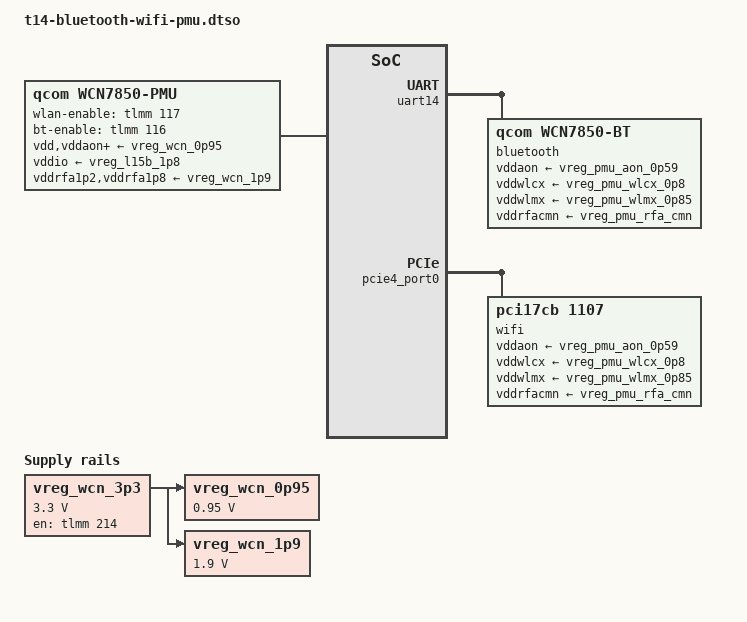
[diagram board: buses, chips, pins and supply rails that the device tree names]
// SPDX-License-Identifier: BSD-3-Clause
// FAILED physical trial: the T14s froze before keyboard or network worked.
// That image also changed .dtbauto selection to .dtb; DT causality is unknown.
// Keep for investigation only; do not install or package this device tree.
// T14s Gen 6 WCN7850 trial: Bluetooth plus PCIe Wi-Fi PMU supply links.
// The Wi-Fi child follows the upstream x1e80100 QCP board's WCN7850 wiring.
// Apply only to x1e78100-lenovo-thinkpad-t14s.dtb.
/dts-v1/;
/plugin/;

&{/} {
	aliases {
		serial1 = "/soc@0/geniqup@ac0000/serial@a98000";
	};

	vreg_wcn_3p3: regulator-wcn-3p3 {
		compatible = "regulator-fixed";
		regulator-name = "VREG_WCN_3P3";
		regulator-min-microvolt = <3300000>;
		regulator-max-microvolt = <3300000>;
		gpio = <&tlmm 214 0>;
		enable-active-high;
		pinctrl-0 = <&wcn_sw_en>;
		pinctrl-names = "default";
		regulator-boot-on;
	};

	vreg_wcn_0p95: regulator-wcn-0p95 {
		compatible = "regulator-fixed";
		regulator-name = "VREG_WCN_0P95";
		regulator-min-microvolt = <950000>;
		regulator-max-microvolt = <950000>;
		vin-supply = <&vreg_wcn_3p3>;
	};

	vreg_wcn_1p9: regulator-wcn-1p9 {
		compatible = "regulator-fixed";
		regulator-name = "VREG_WCN_1P9";
		regulator-min-microvolt = <1900000>;
		regulator-max-microvolt = <1900000>;
		vin-supply = <&vreg_wcn_3p3>;
	};

	wcn7850-pmu {
		compatible = "qcom,wcn7850-pmu";
		vdd-supply = <&vreg_wcn_0p95>;
		vddio-supply = <&vreg_l15b_1p8>;
		vddaon-supply = <&vreg_wcn_0p95>;
		vdddig-supply = <&vreg_wcn_0p95>;
		vddrfa1p2-supply = <&vreg_wcn_1p9>;
		vddrfa1p8-supply = <&vreg_wcn_1p9>;
		wlan-enable-gpios = <&tlmm 117 0>;
		bt-enable-gpios = <&tlmm 116 0>;
		pinctrl-0 = <&wcn_wlan_bt_en>;
		pinctrl-names = "default";

		regulators {
			vreg_pmu_rfa_cmn: ldo0 { regulator-name = "vreg_pmu_rfa_cmn"; };
			vreg_pmu_aon_0p59: ldo1 { regulator-name = "vreg_pmu_aon_0p59"; };
			vreg_pmu_wlcx_0p8: ldo2 { regulator-name = "vreg_pmu_wlcx_0p8"; };
			vreg_pmu_wlmx_0p85: ldo3 { regulator-name = "vreg_pmu_wlmx_0p85"; };
			ldo4 { regulator-name = "vreg_pmu_btcmx_0p85"; };
			vreg_pmu_rfa_0p8: ldo5 { regulator-name = "vreg_pmu_rfa_0p8"; };
			vreg_pmu_rfa_1p2: ldo6 { regulator-name = "vreg_pmu_rfa_1p2"; };
			vreg_pmu_rfa_1p8: ldo7 { regulator-name = "vreg_pmu_rfa_1p8"; };
			vreg_pmu_pcie_0p9: ldo8 { regulator-name = "vreg_pmu_pcie_0p9"; };
			vreg_pmu_pcie_1p8: ldo9 { regulator-name = "vreg_pmu_pcie_1p8"; };
		};
	};
};

&tlmm {
	wcn_sw_en: wcn-sw-en-state {
		pins = "gpio214";
		function = "gpio";
		drive-strength = <2>;
		bias-disable;
	};

	wcn_wlan_bt_en: wcn-wlan-bt-en-state {
		pins = "gpio116", "gpio117";
		function = "gpio";
		drive-strength = <2>;
		bias-disable;
	};
};

&uart14 {
	status = "okay";
	bluetooth {
		compatible = "qcom,wcn7850-bt";
		max-speed = <3200000>;
		vddaon-supply = <&vreg_pmu_aon_0p59>;
		vddwlcx-supply = <&vreg_pmu_wlcx_0p8>;
		vddwlmx-supply = <&vreg_pmu_wlmx_0p85>;
		vddrfacmn-supply = <&vreg_pmu_rfa_cmn>;
		vddrfa0p8-supply = <&vreg_pmu_rfa_0p8>;
		vddrfa1p2-supply = <&vreg_pmu_rfa_1p2>;
		vddrfa1p8-supply = <&vreg_pmu_rfa_1p8>;
	};
};

&pcie4_port0 {
	#address-cells = <3>;
	#size-cells = <2>;

	wifi@0 {
		compatible = "pci17cb,1107";
		reg = <0x10000 0x0 0x0 0x0 0x0>;

		vddaon-supply = <&vreg_pmu_aon_0p59>;
		vddwlcx-supply = <&vreg_pmu_wlcx_0p8>;
		vddwlmx-supply = <&vreg_pmu_wlmx_0p85>;
		vddrfacmn-supply = <&vreg_pmu_rfa_cmn>;
		vddrfa0p8-supply = <&vreg_pmu_rfa_0p8>;
		vddrfa1p2-supply = <&vreg_pmu_rfa_1p2>;
		vddrfa1p8-supply = <&vreg_pmu_rfa_1p8>;
		vddpcie0p9-supply = <&vreg_pmu_pcie_0p9>;
		vddpcie1p8-supply = <&vreg_pmu_pcie_1p8>;
	};
};
